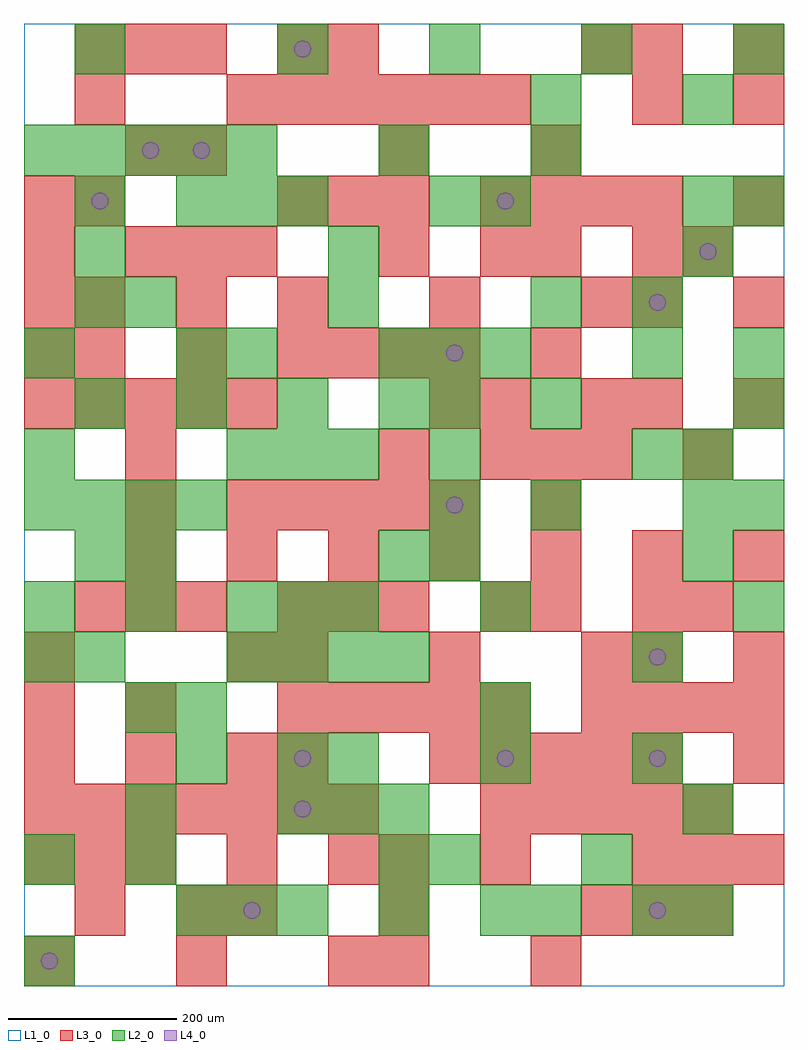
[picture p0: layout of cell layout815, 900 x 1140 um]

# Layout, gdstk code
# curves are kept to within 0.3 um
import gdstk
lib = gdstk.Library(unit=1e-6, precision=1e-09)
def R(c, l, rs):  # rectangles x0, y0, x1, y1
    for r in rs: c.add(gdstk.rectangle(r[:2], r[2:], *l))
def A(c, l, x, y, w, h, nx, ny, dx, dy):  # array of equal rectangles
    R(c, l, [(x+i*dx, y+j*dy, x+i*dx+w, y+j*dy+h) for i in range(nx) for j in range(ny)])
def P(c, l, *ps):  # polygons
    for p in ps: c.add(gdstk.Polygon(p, *l))
L1_0 = (1, 0)
L2_0 = (2, 0)
L3_0 = (3, 0)
L4_0 = (4, 0)

layout815 = lib.new_cell('layout815')
R(layout815, L1_0, [(0,0,900,1140)])
A(layout815, L2_0, 180, 60, 60, 60, 3, 2, 60, 840)
A(layout815, L2_0, 0, 120, 60, 60, 1, 3, 0, 240)
A(layout815, L2_0, 300, 180, 60, 60, 3, 1, 60, 0)
A(layout815, L2_0, 360, 240, 60, 60, 3, 1, 180, 0)
A(layout815, L2_0, 240, 360, 60, 60, 4, 1, 60, 0)
A(layout815, L2_0, 0, 420, 60, 60, 3, 1, 120, 0)
A(layout815, L2_0, 840, 420, 60, 60, 1, 3, 0, 120)
A(layout815, L2_0, 480, 480, 60, 60, 1, 4, 0, 60)
A(layout815, L2_0, 780, 480, 60, 60, 1, 3, 0, 60)
A(layout815, L2_0, 0, 540, 60, 60, 4, 1, 60, 0)
A(layout815, L2_0, 240, 600, 60, 60, 3, 1, 60, 0)
A(layout815, L2_0, 60, 660, 60, 60, 4, 1, 120, 0)
A(layout815, L2_0, 420, 720, 60, 60, 3, 1, 60, 0)
A(layout815, L2_0, 60, 780, 60, 60, 1, 3, 0, 60)
A(layout815, L2_0, 120, 780, 60, 60, 3, 1, 240, 0)
A(layout815, L2_0, 0, 960, 60, 60, 5, 1, 60, 0)
A(layout815, L2_0, 300, 1080, 60, 60, 4, 1, 180, 0)
R(layout815, L2_0, [(0,0,60,60), (420,60,480,120), (540,60,600,120), (600,60,660,120), (720,60,780,120), (780,60,840,120), (120,120,180,180), (420,120,480,180), (480,120,540,180), (660,120,720,180), (120,180,180,240), (780,180,840,240), (180,240,240,300), (300,240,360,300), (120,300,180,360), (180,300,240,360), (540,300,600,360), (60,360,120,420), (720,360,780,420), (300,420,360,480), (360,420,420,480), (540,420,600,480), (60,480,120,540), (120,480,180,540), (420,480,480,540), (600,540,660,600), (720,600,780,660), (600,660,660,720), (0,720,60,780), (180,720,240,780), (240,720,300,780), (720,720,780,780), (840,720,900,780), (720,780,780,840), (360,840,420,900), (780,840,840,900), (480,900,540,960), (540,900,600,960), (780,900,840,960), (840,900,900,960), (420,960,480,1020), (600,960,660,1020), (600,1020,660,1080), (780,1020,840,1080), (60,1080,120,1140)])
A(layout815, L3_0, 0, 0, 60, 60, 3, 1, 180, 0)
A(layout815, L3_0, 420, 0, 60, 60, 1, 3, 0, 60)
A(layout815, L3_0, 660, 60, 60, 60, 3, 1, 60, 0)
A(layout815, L3_0, 0, 120, 60, 60, 3, 1, 60, 0)
A(layout815, L3_0, 720, 120, 60, 60, 3, 1, 60, 0)
A(layout815, L3_0, 0, 180, 60, 60, 7, 1, 60, 0)
A(layout815, L3_0, 540, 180, 60, 60, 5, 1, 60, 0)
A(layout815, L3_0, 0, 240, 60, 60, 3, 1, 120, 0)
A(layout815, L3_0, 480, 240, 60, 60, 5, 1, 60, 0)
A(layout815, L3_0, 300, 300, 60, 60, 5, 1, 60, 0)
A(layout815, L3_0, 660, 300, 60, 60, 4, 1, 60, 0)
A(layout815, L3_0, 300, 360, 60, 60, 3, 1, 180, 0)
A(layout815, L3_0, 60, 420, 60, 60, 3, 2, 60, 660)
A(layout815, L3_0, 300, 420, 60, 60, 3, 2, 60, 480)
A(layout815, L3_0, 120, 480, 60, 60, 7, 1, 120, 0)
A(layout815, L3_0, 240, 540, 60, 60, 5, 1, 60, 0)
A(layout815, L3_0, 540, 600, 60, 60, 3, 1, 60, 0)
A(layout815, L3_0, 0, 660, 60, 60, 5, 1, 60, 0)
A(layout815, L3_0, 840, 660, 60, 60, 1, 4, 0, 120)
A(layout815, L3_0, 0, 720, 60, 60, 1, 4, 0, 60)
A(layout815, L3_0, 60, 720, 60, 60, 3, 2, 120, 60)
A(layout815, L3_0, 360, 720, 60, 60, 3, 1, 60, 0)
A(layout815, L3_0, 600, 720, 60, 60, 1, 3, 0, 120)
A(layout815, L3_0, 120, 840, 60, 60, 3, 1, 60, 0)
A(layout815, L3_0, 540, 900, 60, 60, 4, 1, 60, 0)
A(layout815, L3_0, 240, 1020, 60, 60, 6, 1, 60, 0)
R(layout815, L3_0, [(600,0,660,60), (60,60,120,120), (180,60,240,120), (240,60,300,120), (240,120,300,180), (360,120,420,180), (540,120,600,180), (300,240,360,300), (840,240,900,300), (0,300,60,360), (120,300,180,360), (0,360,60,420), (240,360,300,420), (720,360,780,420), (840,360,900,420), (540,420,600,480), (600,420,660,480), (720,420,780,480), (780,420,840,480), (120,540,180,600), (600,540,660,600), (120,600,180,660), (420,600,480,660), (780,600,840,660), (480,660,540,720), (540,660,600,720), (660,660,720,720), (720,660,780,720), (480,780,540,840), (660,780,720,840), (720,780,780,840), (420,840,480,900), (540,840,600,900), (720,840,780,900), (780,840,840,900), (60,900,120,960), (120,960,180,1020), (180,960,240,1020), (420,960,480,1020), (60,1020,120,1080), (720,1020,780,1080), (300,1080,360,1140), (360,1080,420,1140), (660,1080,720,1140), (720,1080,780,1140), (840,1080,900,1140)])
P(layout815, L4_0, [(40,30),(39.239,33.827),(37.071,37.071),(33.827,39.239),(30,40),(26.173,39.239),(22.929,37.071),(20.761,33.827),(20,30),(20.761,26.173),(22.929,22.929),(26.173,20.761),(30,20),(33.827,20.761),(37.071,22.929),(39.239,26.173)],
  [(100,930),(99.239,933.827),(97.071,937.071),(93.827,939.239),(90,940),(86.173,939.239),(82.929,937.071),(80.761,933.827),(80,930),(80.761,926.173),(82.929,922.929),(86.173,920.761),(90,920),(93.827,920.761),(97.071,922.929),(99.239,926.173)],
  [(160,990),(159.239,993.827),(157.071,997.071),(153.827,999.239),(150,1000),(146.173,999.239),(142.929,997.071),(140.761,993.827),(140,990),(140.761,986.173),(142.929,982.929),(146.173,980.761),(150,980),(153.827,980.761),(157.071,982.929),(159.239,986.173)],
  [(220,990),(219.239,993.827),(217.071,997.071),(213.827,999.239),(210,1000),(206.173,999.239),(202.929,997.071),(200.761,993.827),(200,990),(200.761,986.173),(202.929,982.929),(206.173,980.761),(210,980),(213.827,980.761),(217.071,982.929),(219.239,986.173)],
  [(280,90),(279.239,93.827),(277.071,97.071),(273.827,99.239),(270,100),(266.173,99.239),(262.929,97.071),(260.761,93.827),(260,90),(260.761,86.173),(262.929,82.929),(266.173,80.761),(270,80),(273.827,80.761),(277.071,82.929),(279.239,86.173)],
  [(340,210),(339.239,213.827),(337.071,217.071),(333.827,219.239),(330,220),(326.173,219.239),(322.929,217.071),(320.761,213.827),(320,210),(320.761,206.173),(322.929,202.929),(326.173,200.761),(330,200),(333.827,200.761),(337.071,202.929),(339.239,206.173)],
  [(340,270),(339.239,273.827),(337.071,277.071),(333.827,279.239),(330,280),(326.173,279.239),(322.929,277.071),(320.761,273.827),(320,270),(320.761,266.173),(322.929,262.929),(326.173,260.761),(330,260),(333.827,260.761),(337.071,262.929),(339.239,266.173)],
  [(340,1110),(339.239,1113.827),(337.071,1117.071),(333.827,1119.239),(330,1120),(326.173,1119.239),(322.929,1117.071),(320.761,1113.827),(320,1110),(320.761,1106.173),(322.929,1102.929),(326.173,1100.761),(330,1100),(333.827,1100.761),(337.071,1102.929),(339.239,1106.173)],
  [(520,570),(519.239,573.827),(517.071,577.071),(513.827,579.239),(510,580),(506.173,579.239),(502.929,577.071),(500.761,573.827),(500,570),(500.761,566.173),(502.929,562.929),(506.173,560.761),(510,560),(513.827,560.761),(517.071,562.929),(519.239,566.173)],
  [(520,750),(519.239,753.827),(517.071,757.071),(513.827,759.239),(510,760),(506.173,759.239),(502.929,757.071),(500.761,753.827),(500,750),(500.761,746.173),(502.929,742.929),(506.173,740.761),(510,740),(513.827,740.761),(517.071,742.929),(519.239,746.173)],
  [(580,270),(579.239,273.827),(577.071,277.071),(573.827,279.239),(570,280),(566.173,279.239),(562.929,277.071),(560.761,273.827),(560,270),(560.761,266.173),(562.929,262.929),(566.173,260.761),(570,260),(573.827,260.761),(577.071,262.929),(579.239,266.173)],
  [(580,930),(579.239,933.827),(577.071,937.071),(573.827,939.239),(570,940),(566.173,939.239),(562.929,937.071),(560.761,933.827),(560,930),(560.761,926.173),(562.929,922.929),(566.173,920.761),(570,920),(573.827,920.761),(577.071,922.929),(579.239,926.173)],
  [(760,90),(759.239,93.827),(757.071,97.071),(753.827,99.239),(750,100),(746.173,99.239),(742.929,97.071),(740.761,93.827),(740,90),(740.761,86.173),(742.929,82.929),(746.173,80.761),(750,80),(753.827,80.761),(757.071,82.929),(759.239,86.173)],
  [(760,270),(759.239,273.827),(757.071,277.071),(753.827,279.239),(750,280),(746.173,279.239),(742.929,277.071),(740.761,273.827),(740,270),(740.761,266.173),(742.929,262.929),(746.173,260.761),(750,260),(753.827,260.761),(757.071,262.929),(759.239,266.173)],
  [(760,390),(759.239,393.827),(757.071,397.071),(753.827,399.239),(750,400),(746.173,399.239),(742.929,397.071),(740.761,393.827),(740,390),(740.761,386.173),(742.929,382.929),(746.173,380.761),(750,380),(753.827,380.761),(757.071,382.929),(759.239,386.173)],
  [(760,810),(759.239,813.827),(757.071,817.071),(753.827,819.239),(750,820),(746.173,819.239),(742.929,817.071),(740.761,813.827),(740,810),(740.761,806.173),(742.929,802.929),(746.173,800.761),(750,800),(753.827,800.761),(757.071,802.929),(759.239,806.173)],
  [(820,870),(819.239,873.827),(817.071,877.071),(813.827,879.239),(810,880),(806.173,879.239),(802.929,877.071),(800.761,873.827),(800,870),(800.761,866.173),(802.929,862.929),(806.173,860.761),(810,860),(813.827,860.761),(817.071,862.929),(819.239,866.173)])

lib.write_gds('layout815.gds')
